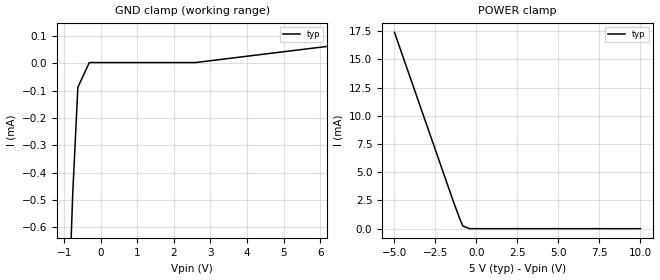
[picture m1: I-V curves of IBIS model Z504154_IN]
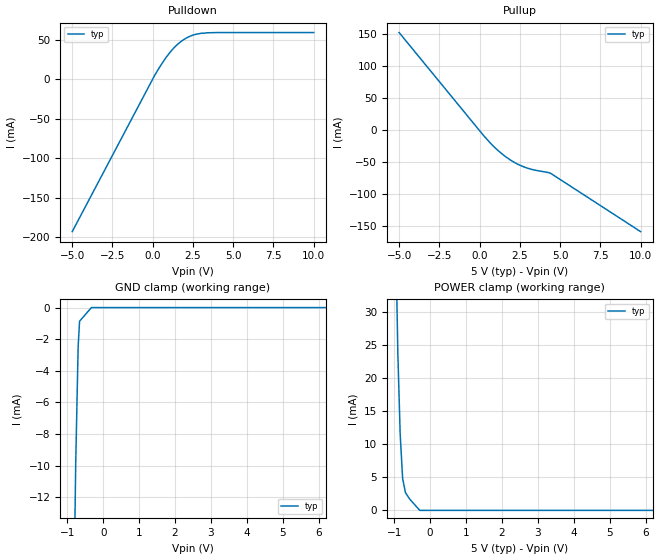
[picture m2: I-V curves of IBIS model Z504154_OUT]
| YOU ARE ONLY AUTHORIZED TO USE THIS SOFTWARE
| ACCORDING TO LICENSOR'S LICENSE RESTRICTIONS.
[IBIS Ver] 3.1
[File Name] mc74hc151d.ibs
[File Rev] 2.0
[Source] Measured and created by ICX Technology
[Date] Friday 7/14/00 9:08:08 AM
[Copyright]
| (C) COPYRIGHT 1993-2000
| MENTOR GRAPHICS CORPORATION
| ICX STANDARD LIBRARY, ICX PROJECT MODELING,
| ICX CUSTOM MODELING, ICX VENDOR MODEL
| ALL RIGHTS RESERVED.
| THE FOLLOWING ARE TRADEMARKS OR SERVICE MARKS OF
| MENTOR GRAPHICS CORPORATION:ICX (R), ICX STANDARD
| LIBRARY(R), ICX PROJECT MODELING(R), ICX CUSTOM
| MODELING(R), qualityIBIS(TM), MODELVIEWER(TM),
| AND MODELEDITOR(TM)
| ALL COPIES OF SOFTWARE, INCLUDING BUT NOT LIMITED TO
| ANY MODIFICATIONS, ENHANCEMENTS OR DERIVATIVE WORKS,
| MUST CONTAIN ALL MENTOR GRAPHICS CORPORATION'S
| NOTICES AND LEGENDS, INCLUDING THOSE EMBEDDED IN
| SOFTWARE AND THOSE AFFIXED TO SOFTWARE MEDIUM
| AND CONTAINER, AS RECEIVED FROM MENTOR GRAPHICS
| CORPORATION.
|  ZAP Model Builder 2.7
[Component] MC74HC151D
[Manufacturer] OnSemiconductor
[Package]
| variable   typ   min   max
R_pkg  .156ohms NA NA
L_pkg  3.148nH NA NA
C_pkg  .388pF NA NA
[Pin] signal_name  model_name  R_pin  L_pin C_pin
1 D3 Z504154_IN .162 3.798n .418p
2 D2 Z504154_IN .158 3.358n .398p
3 D1 Z504154_IN .154 2.928n .378p
4 D0 Z504154_IN .15 2.508n .358p
5 Y Z504154_OUT .15 2.508n .358p
6 _Y Z504154_OUT .154 2.928n .378p
7 _G Z504154_IN .158 3.358n .398p
8 GROUND GND .162 3.798n .418p
9 C Z504154_IN .162 3.798n .418p
10 B Z504154_IN .158 3.358n .398p
11 A Z504154_IN .154 2.928n .378p
12 D7 Z504154_IN .15 2.508n .358p
13 D6 Z504154_IN .15 2.508n .358p
14 D5 Z504154_IN .154 2.928n .378p
15 D4 Z504154_IN .158 3.358n .398p
16 VCC POWER .162 3.798n .418p
| Models and submodels in the file (2): Z504154_IN (Input), Z504154_OUT (Output)
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| (C) COPYRIGHT 1993-2000
| MENTOR GRAPHICS CORPORATION
| ICX STANDARD LIBRARY, ICX PROJECT MODELING,
| ICX CUSTOM MODELING, ICX VENDOR MODEL
| ALL RIGHTS RESERVED.
| THE FOLLOWING ARE TRADEMARKS OR SERVICE MARKS OF
| MENTOR GRAPHICS CORPORATION:ICX (R), ICX STANDARD
| LIBRARY(R), ICX PROJECT MODELING(R), ICX CUSTOM
| MODELING(R), qualityIBIS(TM), MODELVIEWER(TM),
| AND MODELEDITOR(TM)
| ALL COPIES OF SOFTWARE, INCLUDING BUT NOT LIMITED TO
| ANY MODIFICATIONS, ENHANCEMENTS OR DERIVATIVE WORKS,
| MUST CONTAIN ALL MENTOR GRAPHICS CORPORATION'S
| NOTICES AND LEGENDS, INCLUDING THOSE EMBEDDED IN
| SOFTWARE AND THOSE AFFIXED TO SOFTWARE MEDIUM
| AND CONTAINER, AS RECEIVED FROM MENTOR GRAPHICS
| CORPORATION.
| Model Application Version 1.89 2/18/99.
[Model] Z504154_IN
Model_type Input
Vinl = 1.000V
Vinh = 3.500V
C_comp 4.000pF NA NA
| variable typ   min   max
[Voltage Range] 5.000V NA NA
[GND Clamp Reference] 0.000V NA NA
[POWER Clamp Reference] 5.000V NA NA
[GND Clamp]
-5V       -17.72mA   NA         NA
-1.132V   -1.864mA   NA         NA
-766.1mV  -473.5uA   NA         NA
-626.4mV  -87.99uA   NA         NA
-313.2mV  2.147uA    NA         NA
2.589V    2.147uA    NA         NA
10V       123.5uA    NA         NA
[POWER Clamp]
-5V       17.38mA    NA         NA
-1.427V   2.483mA    NA         NA
-1.004V   820.5uA    NA         NA
-830mV    243.4uA    NA         NA
-415mV    0A         NA         NA
10V       0A         NA         NA
| (C) COPYRIGHT 1993-2000
| MENTOR GRAPHICS CORPORATION
| ICX STANDARD LIBRARY, ICX PROJECT MODELING,
| ICX CUSTOM MODELING, ICX VENDOR MODEL
| ALL RIGHTS RESERVED.
| THE FOLLOWING ARE TRADEMARKS OR SERVICE MARKS OF
| MENTOR GRAPHICS CORPORATION:ICX (R), ICX STANDARD
| LIBRARY(R), ICX PROJECT MODELING(R), ICX CUSTOM
| MODELING(R), qualityIBIS(TM), MODELVIEWER(TM),
| AND MODELEDITOR(TM)
| ALL COPIES OF SOFTWARE, INCLUDING BUT NOT LIMITED TO
| ANY MODIFICATIONS, ENHANCEMENTS OR DERIVATIVE WORKS,
| MUST CONTAIN ALL MENTOR GRAPHICS CORPORATION'S
| NOTICES AND LEGENDS, INCLUDING THOSE EMBEDDED IN
| SOFTWARE AND THOSE AFFIXED TO SOFTWARE MEDIUM
| AND CONTAINER, AS RECEIVED FROM MENTOR GRAPHICS
| CORPORATION.
| Model Application Version 1.89 2/18/99.
[Model] Z504154_OUT
Model_type Output
Vref=0.000V
Rref=500.0Mohms
Cref=50.00pF
Vmeas=2.500V
C_comp 8.000pF NA NA
| variable typ   min   max
[Voltage Range] 5.000V NA NA
[POWER Clamp Reference] 5.000V NA NA
[Pullup Reference] 5.000V NA NA
[Pulldown Reference] 0.000V NA NA
[GND Clamp Reference] 0.000V NA NA
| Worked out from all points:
|   slope of the pulldown table from 0 to 0.75 V, typ, clamps not added: 30 ohm
|   slope of the pullup table from 0 to 0.75 V, typ, clamps not added: 34.9 ohm
|   GND clamp passes 1 mA (typ) near -0.66 V on its own axis
[GND Clamp]
-5V       -461.3mA   NA         NA
-1.211V   -76.52mA   NA         NA
-1.025V   -53.1mA    NA         NA
-766.6mV  -9.871mA   NA         NA
-698.6mV  -2.458mA   NA         NA
-659.1mV  -864.1uA   NA         NA
-329.5mV  0A         NA         NA
10V       0A         NA         NA
[Pulldown]
-5V       -193.2mA   NA         NA
102.5mV   3.969mA    NA         NA
835.2mV   27.61mA    NA         NA
1.32V     39.55mA    NA         NA
1.731V    47.1mA     NA         NA
2.481V    55.51mA    NA         NA
3.374V    58.53mA    NA         NA
10V       58.86mA    NA         NA
[Pullup]
-5V       152.5mA    NA         NA
253mV     -8.666mA   NA         NA
1.147V    -31.99mA   NA         NA
1.887V    -46.32mA   NA         NA
2.757V    -57.6mA    NA         NA
3.29V     -61.8mA    NA         NA
4.404V    -67.4mA    NA         NA
10V       -158.7mA   NA         NA
[POWER Clamp]
-5V       1.661A     NA         NA
-1.242V   140.7mA    NA         NA
-1.017V   58.52mA    NA         NA
-898mV    23.58mA    NA         NA
-834mV    11.57mA    NA         NA
-766mV    4.86mA     NA         NA
-688mV    2.704mA    NA         NA
-577mV    1.759mA    NA         NA
-288.5mV  0A         NA         NA
10V       0A         NA         NA
[Ramp]
| variable typ min max
dV/dt_r 2.832/1.286n NA NA
dV/dt_f 2.832/1.607n NA NA
R_load = 500.0Ohms
